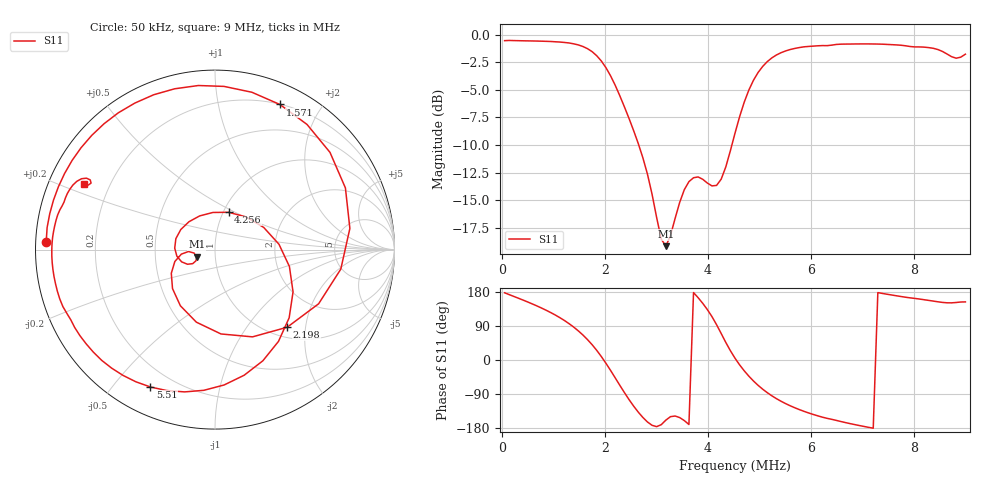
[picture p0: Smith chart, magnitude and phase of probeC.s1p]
# Hz S RI R 50
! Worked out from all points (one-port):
!   101 points, 50 kHz to 9 MHz, reference 50 ohm
!   lowest |S11| = -19.2 dB at 3.183 MHz (marker M1), VSWR 1.25, Z = 40.6 - j3.29 ohm
!   |S11| at or under -10 dB: 2.655 MHz to 4.465 MHz (1.809 MHz wide, 50.8 % of centre)
!   S11 on the Smith chart (normalised r, x): 50 kHz: 0.03, +0.02; 1.571 MHz: 0.20, +1.52; 2.198 MHz: 1.20, -1.59; 4.256 MHz: 1.06, +0.46; 5.51 MHz: 0.12, -0.63; 9 MHz: 0.11, +0.23
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50000  -0.9405 0.0426
676500  -0.7461 0.5677
1213500  -0.2249 0.8959
1392500  0.0503 0.9092
1571500  0.3615 0.8085
1750500  0.6406 0.5418
1929500  0.7514 0.1179
2019000  0.7009 -0.1087
2198000  0.4023 -0.4325
2287500  0.2091 -0.4862
2466500  -0.1039 -0.4043
2645500  -0.2367 -0.2173
2914000  -0.1874 -0.0252
3182500  -0.1022 -0.0401
3451000  -0.1533 -0.0816
3809000  -0.2181 0.0609
4256500  0.0759 0.2078
4525000  0.3565 0.0297
4793500  0.4132 -0.38
5062000  0.1623 -0.7
5241000  -0.062 -0.7839
5509500  -0.3595 -0.7655
5688500  -0.5122 -0.701
6136000  -0.7523 -0.4798
6762500  -0.8886 -0.1902
7926000  -0.8513 0.2442
8552500  -0.7431 0.3949
9000000  -0.7304 0.3669
